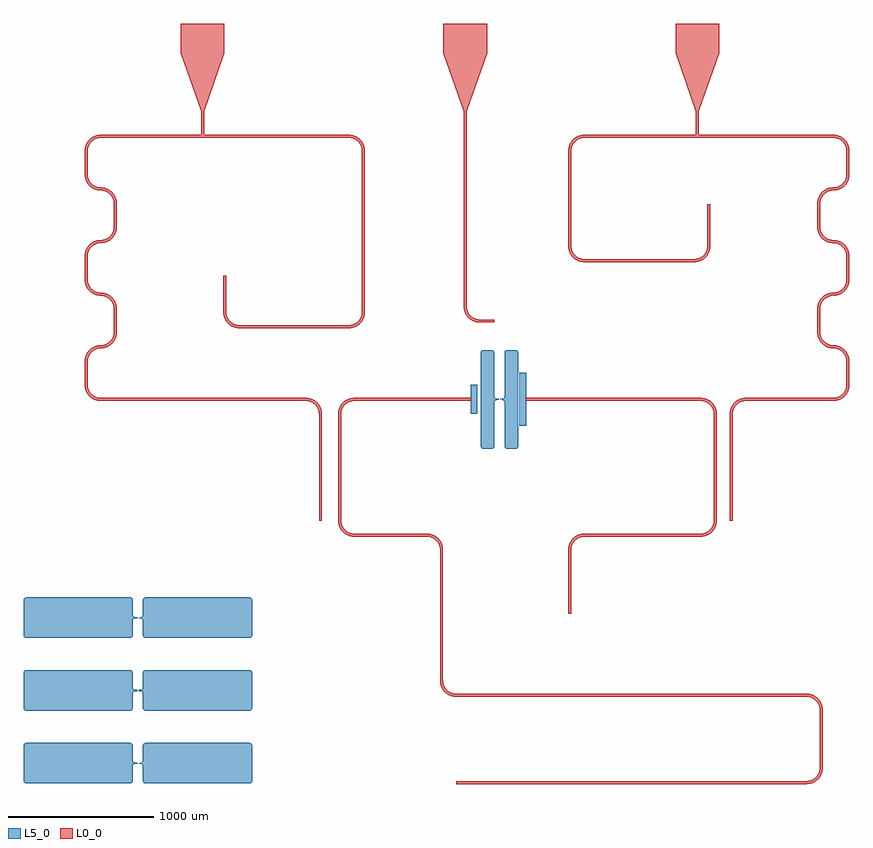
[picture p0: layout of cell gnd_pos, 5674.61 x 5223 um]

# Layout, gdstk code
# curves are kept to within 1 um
import gdstk
lib = gdstk.Library(unit=1e-6, precision=1e-09)
def R(c, l, rs):  # rectangles x0, y0, x1, y1
    for r in rs: c.add(gdstk.rectangle(r[:2], r[2:], *l))
def A(c, l, x, y, w, h, nx, ny, dx, dy):  # array of equal rectangles
    R(c, l, [(x+i*dx, y+j*dy, x+i*dx+w, y+j*dy+h) for i in range(nx) for j in range(ny)])
def P(c, l, *ps):  # polygons
    for p in ps: c.add(gdstk.Polygon(p, *l))
L0_0 = (0, 0)
L5_0 = (5, 0)

gnd_pos = lib.new_cell('gnd_pos')
A(gnd_pos, L0_0, 884.888, 3600, 20, 161.6, 1, 3, 0, 723.2)
A(gnd_pos, L0_0, 6119.612, 3600, 20, 161.6, 1, 3, 0, 723.2)
R(gnd_pos, L0_0, [(3436.9,857,5845.811,877), (5935.811,967,5955.811,1367), (3436.9,1457,5845.811,1477), (3326.9,1567,3346.9,2467), (4208.1,2027.239,4228.1,2051.239), (4208.1,2051.239,4228.1,2467), (2736.9,2557,3236.9,2577), (4318.1,2557,5118.1,2577), (2494.9,2667,2514.9,3400), (2626.9,2667,2646.9,3400), (5208.1,2667,5228.1,3400), (5318.1,2667,5338.1,3400), (994.888,3490,2404.9,3510), (2736.9,3490,3539.9,3510), (3915.1,3490,5118.1,3510), (5428.1,3490,6029.612,3510), (1084.888,3961.6,1104.888,4123.2), (5919.612,3961.6,5939.612,4123.2), (1947.444,3990,2700,4010), (3600,4028.8,3700,4048.8), (1837.444,4100,1857.444,4349.205), (2790,4100,2810,5208), (3490,4138.8,3510,5480), (4318.1,4444,5073.856,4464), (4208.1,4554,4228.1,5208), (5163.856,4554,5183.856,4841.105), (1084.888,4684.8,1104.888,4846.4), (5919.612,4684.8,5939.612,4846.4), (994.888,5298,1695,5318), (1695,5298,2700,5318), (4318.1,5298,5095,5318), (5095,5298,6029.612,5318), (1685,5308,1705,5480), (5085,5308,5105,5480), (1545,5880,1845,6080), (3350,5880,3650,6080), (4945,5880,5245,6080)])
P(gnd_pos, L0_0, [(3650,5880),(3350,5880),(3490,5480),(3510,5480)],
  [(3490,4138.8),(3491.971,4118.071),(3497.813,4098.085),(3508.954,4077.069),(3522.218,4061.018),(3538.269,4047.754),(3559.285,4036.613),(3579.271,4030.771),(3600,4028.8),(3600,4048.8),(3585.44,4049.986),(3571.263,4053.511),(3557.843,4059.284),(3543.614,4068.653),(3529.853,4082.414),(3519.371,4098.812),(3512.66,4117.08),(3510,4138.8)],
  [(2736.9,3510),(2716.171,3508.029),(2696.185,3502.187),(2675.169,3491.046),(2659.118,3477.782),(2645.854,3461.731),(2634.713,3440.715),(2628.871,3420.729),(2626.9,3400),(2646.9,3400),(2648.086,3414.56),(2651.611,3428.737),(2657.384,3442.157),(2666.753,3456.386),(2680.514,3470.147),(2696.912,3480.629),(2715.18,3487.34),(2736.9,3490)],
  [(2626.9,2667),(2628.871,2646.271),(2634.713,2626.285),(2645.854,2605.269),(2659.118,2589.218),(2675.169,2575.954),(2696.185,2564.813),(2716.171,2558.971),(2736.9,2557),(2736.9,2577),(2722.34,2578.186),(2708.163,2581.711),(2694.743,2587.484),(2680.514,2596.853),(2666.753,2610.614),(2656.271,2627.012),(2649.56,2645.28),(2646.9,2667)],
  [(3236.9,2577),(3257.629,2575.029),(3277.615,2569.187),(3298.631,2558.046),(3314.682,2544.782),(3327.946,2528.731),(3339.087,2507.715),(3344.929,2487.729),(3346.9,2467),(3326.9,2467),(3325.714,2481.56),(3322.189,2495.737),(3316.416,2509.157),(3307.047,2523.386),(3293.286,2537.147),(3276.888,2547.629),(3258.62,2554.34),(3236.9,2557)],
  [(3326.9,1567),(3328.871,1546.271),(3334.713,1526.285),(3345.854,1505.269),(3359.118,1489.218),(3375.169,1475.954),(3396.185,1464.813),(3416.171,1458.971),(3436.9,1457),(3436.9,1477),(3422.34,1478.186),(3408.163,1481.711),(3394.743,1487.484),(3380.514,1496.853),(3366.753,1510.614),(3356.271,1527.012),(3349.56,1545.28),(3346.9,1567)],
  [(5845.811,1477),(5869.458,1474.428),(5889.279,1468.047),(5907.542,1458.046),(5923.593,1444.782),(5936.857,1428.731),(5947.999,1407.715),(5953.84,1387.729),(5955.811,1367),(5935.811,1367),(5934.625,1381.56),(5931.1,1395.737),(5925.327,1409.157),(5915.958,1423.386),(5902.197,1437.147),(5885.799,1447.629),(5867.532,1454.34),(5845.811,1457)],
  [(5955.811,967),(5953.84,946.271),(5947.999,926.285),(5936.857,905.269),(5923.593,889.218),(5907.542,875.954),(5889.279,865.953),(5869.458,859.572),(5845.811,857),(5845.811,877),(5860.371,878.186),(5874.548,881.711),(5887.968,887.484),(5902.197,896.853),(5915.958,910.614),(5926.44,927.012),(5933.151,945.28),(5935.811,967)],
  [(1845,5880),(1545,5880),(1685,5480),(1705,5480)],
  [(2514.9,3400),(2512.929,3420.729),(2507.087,3440.715),(2495.946,3461.731),(2482.682,3477.782),(2466.631,3491.046),(2445.615,3502.187),(2425.629,3508.029),(2404.9,3510),(2404.9,3490),(2419.46,3488.814),(2433.637,3485.289),(2447.057,3479.516),(2461.286,3470.147),(2475.047,3456.386),(2485.529,3439.988),(2492.24,3421.72),(2494.9,3400)],
  [(994.888,3490),(974.159,3491.971),(954.173,3497.813),(933.157,3508.954),(917.106,3522.218),(903.842,3538.269),(892.701,3559.285),(886.859,3579.271),(884.888,3600),(904.888,3600),(906.074,3585.44),(909.599,3571.263),(915.372,3557.843),(924.741,3543.614),(938.502,3529.853),(954.9,3519.371),(973.168,3512.66),(994.888,3510)],
  [(884.888,3761.6),(886.859,3782.329),(892.701,3802.315),(903.842,3823.331),(917.106,3839.382),(933.157,3852.646),(954.173,3863.787),(974.159,3869.629),(994.888,3871.6),(994.888,3851.6),(980.328,3850.414),(966.151,3846.889),(952.731,3841.116),(938.502,3831.747),(924.741,3817.986),(914.259,3801.588),(907.548,3783.32),(904.888,3761.6)],
  [(994.888,3851.6),(1015.617,3853.571),(1035.603,3859.413),(1056.619,3870.554),(1072.67,3883.818),(1085.934,3899.869),(1097.075,3920.885),(1102.917,3940.871),(1104.888,3961.6),(1084.888,3961.6),(1083.702,3947.04),(1080.177,3932.863),(1074.404,3919.443),(1065.035,3905.214),(1051.274,3891.453),(1034.876,3880.971),(1016.608,3874.26),(994.888,3871.6)],
  [(1104.888,4123.2),(1102.917,4143.929),(1097.075,4163.915),(1085.934,4184.931),(1072.67,4200.982),(1056.619,4214.246),(1035.603,4225.387),(1015.617,4231.229),(994.888,4233.2),(994.888,4213.2),(1009.448,4212.014),(1023.625,4208.489),(1037.045,4202.716),(1051.274,4193.347),(1065.035,4179.586),(1076.57,4160.99),(1082.784,4142.547),(1084.888,4123.2)],
  [(994.888,4213.2),(974.159,4215.171),(954.173,4221.013),(933.157,4232.154),(917.106,4245.418),(903.842,4261.469),(892.701,4282.485),(886.859,4302.471),(884.888,4323.2),(904.888,4323.2),(906.074,4308.64),(909.599,4294.463),(915.372,4281.043),(924.741,4266.814),(938.502,4253.053),(954.9,4242.571),(973.168,4235.86),(994.888,4233.2)],
  [(884.888,4484.8),(886.859,4505.529),(892.701,4525.515),(903.842,4546.531),(917.106,4562.582),(933.157,4575.846),(954.173,4586.987),(974.159,4592.829),(994.888,4594.8),(994.888,4574.8),(980.328,4573.614),(966.151,4570.089),(952.731,4564.316),(938.502,4554.947),(924.741,4541.186),(914.259,4524.788),(907.548,4506.52),(904.888,4484.8)],
  [(994.888,4574.8),(1015.617,4576.771),(1035.603,4582.613),(1056.619,4593.754),(1072.67,4607.018),(1085.934,4623.069),(1097.075,4644.085),(1102.917,4664.071),(1104.888,4684.8),(1084.888,4684.8),(1083.702,4670.24),(1080.177,4656.063),(1074.404,4642.643),(1065.035,4628.414),(1051.274,4614.653),(1034.876,4604.171),(1016.608,4597.46),(994.888,4594.8)],
  [(1104.888,4846.4),(1102.917,4867.129),(1097.075,4887.115),(1085.934,4908.131),(1072.67,4924.182),(1056.619,4937.446),(1035.603,4948.587),(1015.617,4954.429),(994.888,4956.4),(994.888,4936.4),(1009.448,4935.214),(1023.625,4931.689),(1037.045,4925.916),(1051.274,4916.547),(1065.035,4902.786),(1076.57,4884.19),(1082.784,4865.747),(1084.888,4846.4)],
  [(994.888,4936.4),(974.159,4938.371),(954.173,4944.213),(933.157,4955.354),(917.106,4968.618),(903.842,4984.669),(892.701,5005.685),(886.859,5025.671),(884.888,5046.4),(904.888,5046.4),(906.074,5031.84),(909.599,5017.663),(915.372,5004.243),(924.741,4990.014),(938.502,4976.253),(954.9,4965.771),(973.168,4959.06),(994.888,4956.4)],
  [(884.888,5208),(886.859,5228.729),(892.701,5248.715),(903.842,5269.731),(917.106,5285.782),(933.157,5299.046),(954.173,5310.187),(974.159,5316.029),(994.888,5318),(994.888,5298),(980.328,5296.814),(966.151,5293.289),(952.731,5287.516),(938.502,5278.147),(924.741,5264.386),(914.259,5247.988),(907.548,5229.72),(904.888,5208)],
  [(2700,5318),(2700,5298),(2700,5298),(2700,5318)],
  [(2700,5318),(2720.729,5316.029),(2740.715,5310.187),(2761.731,5299.046),(2777.782,5285.782),(2791.046,5269.731),(2802.187,5248.715),(2808.029,5228.729),(2810,5208),(2790,5208),(2788.814,5222.56),(2785.289,5236.737),(2779.516,5250.157),(2770.147,5264.386),(2756.386,5278.147),(2739.988,5288.629),(2721.72,5295.34),(2700,5298)],
  [(2810,4100),(2808.029,4079.271),(2802.187,4059.285),(2791.046,4038.269),(2777.782,4022.218),(2761.731,4008.954),(2740.715,3997.813),(2720.729,3991.971),(2700,3990),(2700,4010),(2714.56,4011.186),(2728.737,4014.711),(2742.157,4020.484),(2756.386,4029.853),(2770.147,4043.614),(2780.629,4060.012),(2787.34,4078.28),(2790,4100)],
  [(1947.444,3990),(1926.715,3991.971),(1906.729,3997.813),(1885.713,4008.954),(1869.662,4022.218),(1856.398,4038.269),(1845.257,4059.285),(1839.415,4079.271),(1837.444,4100),(1857.444,4100),(1858.63,4085.44),(1862.155,4071.263),(1867.928,4057.843),(1877.297,4043.614),(1891.058,4029.853),(1907.456,4019.371),(1925.724,4012.66),(1947.444,4010)],
  [(5118.1,3510),(5138.829,3508.029),(5158.815,3502.187),(5179.831,3491.046),(5195.882,3477.782),(5209.146,3461.731),(5220.287,3440.715),(5226.129,3420.729),(5228.1,3400),(5208.1,3400),(5206.914,3414.56),(5203.389,3428.737),(5197.616,3442.157),(5188.247,3456.386),(5174.486,3470.147),(5158.088,3480.629),(5139.82,3487.34),(5118.1,3490)],
  [(5228.1,2667),(5226.129,2646.271),(5220.287,2626.285),(5209.146,2605.269),(5195.882,2589.218),(5179.831,2575.954),(5158.815,2564.813),(5138.829,2558.971),(5118.1,2557),(5118.1,2577),(5132.66,2578.186),(5146.837,2581.711),(5160.257,2587.484),(5174.486,2596.853),(5188.247,2610.614),(5198.729,2627.012),(5205.44,2645.28),(5208.1,2667)],
  [(4318.1,2577),(4297.371,2575.029),(4277.385,2569.187),(4256.369,2558.046),(4240.318,2544.782),(4227.054,2528.731),(4215.913,2507.715),(4210.071,2487.729),(4208.1,2467),(4228.1,2467),(4229.286,2481.56),(4232.811,2495.737),(4238.584,2509.157),(4247.953,2523.386),(4261.714,2537.147),(4278.112,2547.629),(4296.38,2554.34),(4318.1,2557)],
  [(5245,5880),(4945,5880),(5085,5480),(5105,5480)],
  [(5318.1,3400),(5320.071,3420.729),(5325.913,3440.715),(5337.054,3461.731),(5350.318,3477.782),(5366.369,3491.046),(5387.385,3502.187),(5407.371,3508.029),(5428.1,3510),(5428.1,3490),(5413.54,3488.814),(5399.363,3485.289),(5385.943,3479.516),(5371.714,3470.147),(5357.953,3456.386),(5347.471,3439.988),(5340.76,3421.72),(5338.1,3400)],
  [(6029.612,3490),(6050.341,3491.971),(6070.327,3497.813),(6091.343,3508.954),(6107.394,3522.218),(6120.658,3538.269),(6131.799,3559.285),(6137.641,3579.271),(6139.612,3600),(6119.612,3600),(6118.426,3585.44),(6114.901,3571.263),(6109.128,3557.843),(6099.759,3543.614),(6085.998,3529.853),(6069.6,3519.371),(6051.332,3512.66),(6029.612,3510)],
  [(6139.612,3761.6),(6137.641,3782.329),(6131.799,3802.315),(6120.658,3823.331),(6107.394,3839.382),(6091.343,3852.646),(6070.327,3863.787),(6050.341,3869.629),(6029.612,3871.6),(6029.612,3851.6),(6044.172,3850.414),(6058.349,3846.889),(6071.769,3841.116),(6085.998,3831.747),(6099.759,3817.986),(6110.241,3801.588),(6116.952,3783.32),(6119.612,3761.6)],
  [(6029.612,3851.6),(6008.883,3853.571),(5988.897,3859.413),(5967.881,3870.554),(5951.83,3883.818),(5938.566,3899.869),(5927.425,3920.885),(5921.583,3940.871),(5919.612,3961.6),(5939.612,3961.6),(5940.798,3947.04),(5944.323,3932.863),(5950.096,3919.443),(5959.465,3905.214),(5973.226,3891.453),(5989.624,3880.971),(6007.892,3874.26),(6029.612,3871.6)],
  [(5919.612,4123.2),(5921.583,4143.929),(5927.425,4163.915),(5938.566,4184.931),(5951.83,4200.982),(5967.881,4214.246),(5988.897,4225.387),(6008.883,4231.229),(6029.612,4233.2),(6029.612,4213.2),(6015.052,4212.014),(6000.875,4208.489),(5987.455,4202.716),(5973.226,4193.347),(5959.465,4179.586),(5947.93,4160.99),(5941.716,4142.547),(5939.612,4123.2)],
  [(6029.612,4213.2),(6050.341,4215.171),(6070.327,4221.013),(6091.343,4232.154),(6107.394,4245.418),(6120.658,4261.469),(6131.799,4282.485),(6137.641,4302.471),(6139.612,4323.2),(6119.612,4323.2),(6118.426,4308.64),(6114.901,4294.463),(6109.128,4281.043),(6099.759,4266.814),(6085.998,4253.053),(6069.6,4242.571),(6051.332,4235.86),(6029.612,4233.2)],
  [(6139.612,4484.8),(6137.641,4505.529),(6131.799,4525.515),(6120.658,4546.531),(6107.394,4562.582),(6091.343,4575.846),(6070.327,4586.987),(6050.341,4592.829),(6029.612,4594.8),(6029.612,4574.8),(6044.172,4573.614),(6058.349,4570.089),(6071.769,4564.316),(6085.998,4554.947),(6099.759,4541.186),(6110.241,4524.788),(6116.952,4506.52),(6119.612,4484.8)],
  [(6029.612,4574.8),(6008.883,4576.771),(5988.897,4582.613),(5967.881,4593.754),(5951.83,4607.018),(5938.566,4623.069),(5927.425,4644.085),(5921.583,4664.071),(5919.612,4684.8),(5939.612,4684.8),(5940.798,4670.24),(5944.323,4656.063),(5950.096,4642.643),(5959.465,4628.414),(5973.226,4614.653),(5989.624,4604.171),(6007.892,4597.46),(6029.612,4594.8)],
  [(5919.612,4846.4),(5921.583,4867.129),(5927.425,4887.115),(5938.566,4908.131),(5951.83,4924.182),(5967.881,4937.446),(5988.897,4948.587),(6008.883,4954.429),(6029.612,4956.4),(6029.612,4936.4),(6015.052,4935.214),(6000.875,4931.689),(5987.455,4925.916),(5973.226,4916.547),(5959.465,4902.786),(5947.93,4884.19),(5941.716,4865.747),(5939.612,4846.4)],
  [(6029.612,4936.4),(6050.341,4938.371),(6070.327,4944.213),(6091.343,4955.354),(6107.394,4968.618),(6120.658,4984.669),(6131.799,5005.685),(6137.641,5025.671),(6139.612,5046.4),(6119.612,5046.4),(6118.426,5031.84),(6114.901,5017.663),(6109.128,5004.243),(6099.759,4990.014),(6085.998,4976.253),(6069.6,4965.771),(6051.332,4959.06),(6029.612,4956.4)],
  [(6139.612,5208),(6137.641,5228.729),(6131.799,5248.715),(6120.658,5269.731),(6107.394,5285.782),(6091.343,5299.046),(6070.327,5310.187),(6050.341,5316.029),(6029.612,5318),(6029.612,5298),(6044.172,5296.814),(6058.349,5293.289),(6071.769,5287.516),(6085.998,5278.147),(6099.759,5264.386),(6110.241,5247.988),(6116.952,5229.72),(6119.612,5208)],
  [(4318.1,5318),(4297.371,5316.029),(4277.385,5310.187),(4256.369,5299.046),(4240.318,5285.782),(4227.054,5269.731),(4215.913,5248.715),(4210.071,5228.729),(4208.1,5208),(4228.1,5208),(4229.286,5222.56),(4232.811,5236.737),(4238.584,5250.157),(4247.953,5264.386),(4261.714,5278.147),(4278.112,5288.629),(4296.38,5295.34),(4318.1,5298)],
  [(4208.1,4554),(4210.071,4533.271),(4215.913,4513.285),(4227.054,4492.269),(4240.318,4476.218),(4256.369,4462.954),(4277.385,4451.813),(4297.371,4445.971),(4318.1,4444),(4318.1,4464),(4303.54,4465.186),(4289.363,4468.711),(4275.943,4474.484),(4261.714,4483.853),(4247.953,4497.614),(4237.471,4514.012),(4230.76,4532.28),(4228.1,4554)],
  [(5073.856,4444),(5094.585,4445.971),(5114.571,4451.813),(5135.587,4462.954),(5151.638,4476.218),(5164.902,4492.269),(5176.043,4513.285),(5181.885,4533.271),(5183.856,4554),(5163.856,4554),(5162.67,4539.44),(5159.145,4525.263),(5153.372,4511.843),(5144.003,4497.614),(5130.242,4483.853),(5113.844,4473.371),(5095.576,4466.66),(5073.856,4464)])
R(gnd_pos, L5_0, [(3871.1,3317.5,3918.1,3682.5), (3536.9,3400,3583.9,3600)])
P(gnd_pos, L5_0, [(3681.013,3161.226),(3687.887,3162.821),(3693.779,3166.704),(3697.956,3172.392),(3699.974,3180.187),(3700.17,3483.526),(3703.076,3490.298),(3708.903,3494.809),(3730,3496),(3730,3498),(3706,3498),(3706,3496.8),(3702,3496.8),(3702,3503.2),(3706,3503.2),(3706,3502),(3730,3502),(3730,3504),(3708.903,3505.191),(3702.635,3510.302),(3700.075,3517.213),(3699.083,3824.787),(3693.779,3833.296),(3684.026,3838.391),(3624.377,3838.697),(3617.592,3836.756),(3611.904,3832.579),(3608.021,3826.687),(3606.426,3819.813),(3606.503,3179.177),(3611.225,3168.173),(3621.387,3161.838)],
  [(3844.613,3161.226),(3851.487,3162.821),(3857.379,3166.704),(3861.556,3172.392),(3863.574,3180.187),(3863.497,3820.823),(3858.775,3831.827),(3848.613,3838.162),(3787.977,3838.697),(3781.192,3836.756),(3775.504,3832.579),(3771.621,3826.687),(3770.026,3819.813),(3769.83,3516.474),(3766.924,3509.702),(3761.097,3505.191),(3740,3504),(3740,3502),(3764,3502),(3764,3503.2),(3768,3503.2),(3768,3496.8),(3764,3496.8),(3764,3498),(3740,3498),(3740,3496),(3761.097,3494.809),(3767.365,3489.698),(3769.925,3482.787),(3770.917,3175.213),(3776.221,3166.704),(3785.974,3161.609)],
  [(2016.013,861.226),(2023.808,863.244),(2029.496,867.421),(2033.755,874.254),(2035,881.2),(2034.974,1119.813),(2030.816,1131.042),(2021.946,1137.555),(2015,1138.8),(1305,1138.8),(1293.575,1135.215),(1286.245,1125.746),(1285,1118.8),(1284.531,1015.015),(1281.454,1009.125),(1275.405,1004.915),(1255,1004),(1255,1002),(1279,1002),(1279,1003.2),(1283,1003.2),(1283,996.8),(1279,996.8),(1279,998),(1255,998),(1255,996),(1275.405,995.085),(1280.954,991.428),(1284.326,985.701),(1285.103,879.177),(1289.184,868.958),(1298.054,862.445),(1305,861.2)],
  [(1196.013,861.226),(1202.887,862.821),(1208.779,866.704),(1212.487,871.494),(1214.769,878.171),(1215.915,986.405),(1219.572,991.954),(1225.299,995.326),(1245,996),(1245,998),(1221,998),(1221,996.8),(1217,996.8),(1217,1003.2),(1221,1003.2),(1221,1002),(1245,1002),(1245,1004),(1224.595,1004.915),(1219.046,1008.572),(1215.674,1014.299),(1214.897,1120.823),(1210.816,1131.042),(1201.946,1137.555),(1195,1138.8),(485,1138.8),(473.575,1135.215),(466.245,1125.746),(465,1118.8),(465.026,880.187),(469.184,868.958),(478.054,862.445),(485,861.2)],
  [(2016.013,1361.226),(2023.808,1363.244),(2029.496,1367.421),(2033.755,1374.254),(2035,1381.2),(2034.974,1619.813),(2030.816,1631.042),(2021.946,1637.555),(2015,1638.8),(1305,1638.8),(1293.575,1635.215),(1286.245,1625.746),(1285,1618.8),(1284.531,1515.015),(1281.454,1509.125),(1275.405,1504.915),(1255,1504),(1255,1502),(1279,1502),(1279,1503.2),(1283,1503.2),(1283,1496.8),(1279,1496.8),(1279,1498),(1255,1498),(1255,1496),(1275.405,1495.085),(1280.954,1491.428),(1284.326,1485.701),(1285.103,1379.177),(1289.184,1368.958),(1298.054,1362.445),(1305,1361.2)],
  [(1196.013,1361.226),(1202.887,1362.821),(1208.779,1366.704),(1212.487,1371.494),(1214.769,1378.171),(1215.915,1486.405),(1219.572,1491.954),(1225.299,1495.326),(1245,1496),(1245,1498),(1221,1498),(1221,1496.8),(1217,1496.8),(1217,1503.2),(1221,1503.2),(1221,1502),(1245,1502),(1245,1504),(1224.595,1504.915),(1219.046,1508.572),(1215.674,1514.299),(1214.897,1620.823),(1210.816,1631.042),(1201.946,1637.555),(1195,1638.8),(485,1638.8),(473.575,1635.215),(466.245,1625.746),(465,1618.8),(465.026,1380.187),(469.184,1368.958),(478.054,1362.445),(485,1361.2)],
  [(2016.013,1861.226),(2023.808,1863.244),(2029.496,1867.421),(2033.755,1874.254),(2035,1881.2),(2034.974,2119.813),(2030.816,2131.042),(2021.946,2137.555),(2015,2138.8),(1305,2138.8),(1293.575,2135.215),(1286.245,2125.746),(1285,2118.8),(1284.531,2015.015),(1281.454,2009.125),(1275.405,2004.915),(1255,2004),(1255,2002),(1279,2002),(1279,2003.2),(1283,2003.2),(1283,1996.8),(1279,1996.8),(1279,1998),(1255,1998),(1255,1996),(1275.405,1995.085),(1280.954,1991.428),(1284.326,1985.701),(1285.103,1879.177),(1289.184,1868.958),(1298.054,1862.445),(1305,1861.2)],
  [(1196.013,1861.226),(1202.887,1862.821),(1208.779,1866.704),(1212.487,1871.494),(1214.769,1878.171),(1215.915,1986.405),(1219.572,1991.954),(1225.299,1995.326),(1245,1996),(1245,1998),(1221,1998),(1221,1996.8),(1217,1996.8),(1217,2003.2),(1221,2003.2),(1221,2002),(1245,2002),(1245,2004),(1224.595,2004.915),(1219.046,2008.572),(1215.674,2014.299),(1214.897,2120.823),(1210.816,2131.042),(1201.946,2137.555),(1195,2138.8),(485,2138.8),(473.575,2135.215),(466.245,2125.746),(465,2118.8),(465.026,1880.187),(469.184,1868.958),(478.054,1862.445),(485,1861.2)])

lib.write_gds('gnd_pos.gds')
